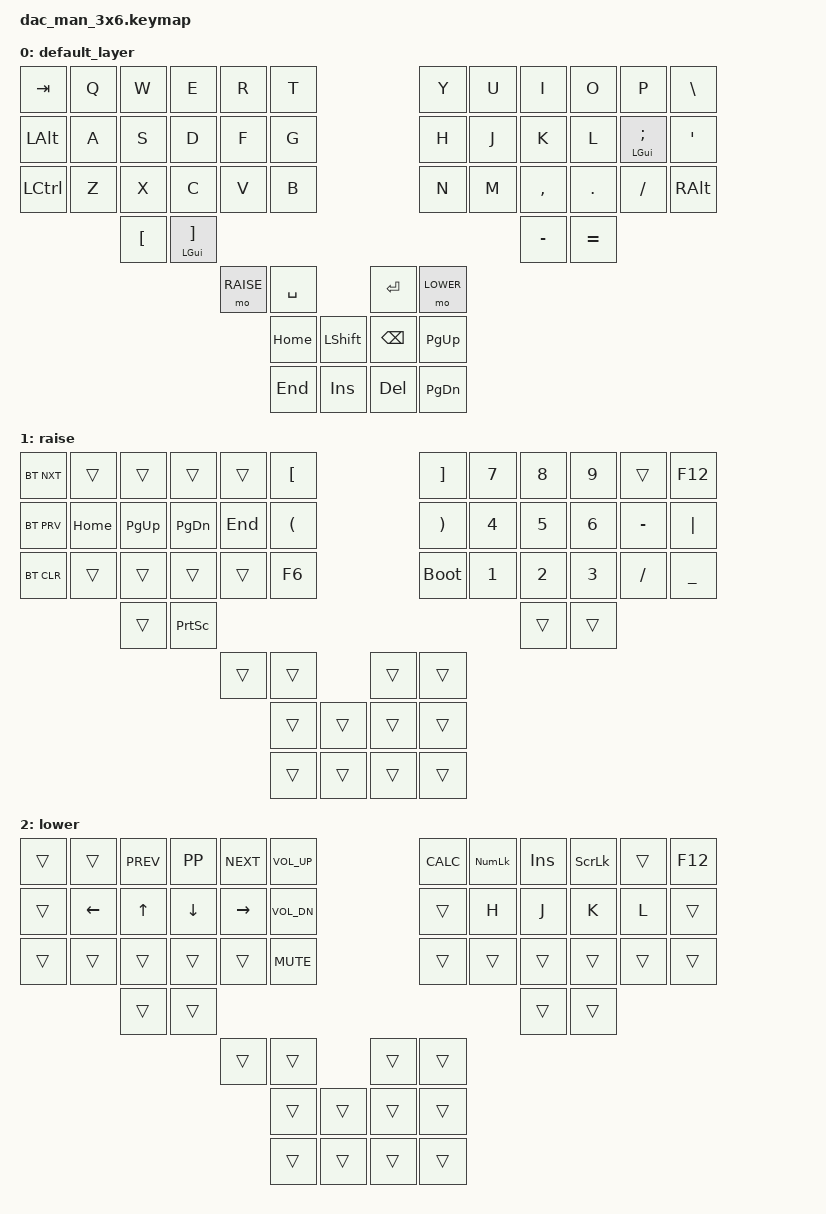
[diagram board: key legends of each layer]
#include <behaviors.dtsi>
#include <dt-bindings/zmk/keys.h>
#include <dt-bindings/zmk/bt.h>

#define DEFAULT 0
#define RAISE   1
#define LOWER   2

/ {
    keymap {
        compatible = "zmk,keymap";

        default_layer {
// Commented layout is not actual layout.
// -------------------------------------------------------------------------------------------------------------------------
// |   TAB   |    Q    |    W    |    E    |    R    |    T    |                   |    Y    |    U    |    I    |    O    |    P    |    \    |
// |  LALT   |    A    |    S    |    D    |    F    |    G    |                   |    H    |    J    |    K    |    L    |    ;    |    '    |
// |  LCTRL  |    Z    |    X    |    C    |    V    |    B    |                   |    N    |    M    |    ,    |    .    |    /    |  RALT   |
//                     |    [    |    ]    |                                                           |    -    |    =    |
//                               | MO lay 1| SPACE   |                   | ENTER   | MO lay 2|
//                                         |   TAB   |   HOME  |   END   |   DEL   |
//                                         |  Raise  |    ~    |   GUI   |  Lower  |
            bindings = <
&kp TAB    &kp Q      &kp W     &kp E      &kp R      &kp T                           &kp Y      &kp U      &kp I      &kp O      &kp P          &kp BSLH
&kp LALT   &kp A      &kp S     &kp D      &kp F      &kp G                           &kp H      &kp J      &kp K      &kp L      &mt LGUI SEMI  &kp SQT
&kp LCTRL  &kp Z      &kp X     &kp C      &kp V      &kp B                           &kp N      &kp M      &kp COMMA  &kp DOT    &kp FSLH       &kp RALT
                      &kp LBKT  &mt LGUI RBKT                                                               &kp MINUS  &kp EQUAL
                                          &mo RAISE  &kp SPACE                &kp ENTER   &mo LOWER
                                                      &kp HOME &kp LSHIFT   &kp BSPC    &kp PG_UP
                                                      &kp END  &kp INS      &kp DEL     &kp PG_DN
            >;
        };

        raise {
// commented layout is not actual layout.
// -------------------------------------------------------------------------------------------------------------------------
// |   tab   |    q    |    w    |    e    |    r    |    t    |                   |    y    |    u    |    i    |    o    |    p    |    \    |
// |  lalt   |    a    |    s    |    d    |    f    |    g    |                   |    h    |    j    |    k    |    l    |    ;    |    '    |
// |  lctrl  |    z    |    x    |    c    |    v    |    b    |                   |    n    |    m    |    ,    |    .    |    /    |  ralt   |
//                     |    [    |    ]    |                                                           |    -    |    =    |
//                               | mo lay 1| space   |                   | enter   | mo lay 2|
//                                         |   tab   |   home  |   end   |   del   |
//                                         |  raise  |    ~    |   gui   |  lower  |
            bindings = <
&bt BT_NXT   &trans     &trans    &trans     &trans     &kp LBKT                        &kp RBKT      &kp 7      &kp 8      &kp 9      &trans         &kp F12
&bt BT_PRV   &kp HOME   &kp PG_UP &kp PG_DN  &kp END    &kp LPAR                        &kp RPAR      &kp 4      &kp 5      &kp 6      &kp MINUS      &kp PIPE
&bt BT_CLR   &trans     &trans    &trans     &trans     &kp F6                          &bootloader   &kp 1      &kp 2      &kp 3      &kp FSLH       &kp UNDER
                        &trans    &kp PSCRN                                                                      &trans     &trans
                                             &trans     &trans                          &trans        &trans
                                                        &trans &trans            &trans &trans
                                                        &trans &trans            &trans &trans
            >;
        };

        lower {
// commented layout is not actual layout.
// -------------------------------------------------------------------------------------------------------------------------
// |   tab   |    q    |    w    |    e    |    r    |    t    |                   |    y    |    u    |    i    |    o    |    p    |    \    |
// |  lalt   |    a    |    s    |    d    |    f    |    g    |                   |    h    |    j    |    k    |    l    |    ;    |    '    |
// |  lctrl  |    z    |    x    |    c    |    v    |    b    |                   |    n    |    m    |    ,    |    .    |    /    |  ralt   |
//                     |    [    |    ]    |                                                           |    -    |    =    |
//                               | mo lay 1| space   |                   | enter   | mo lay 2|
//                                         |   tab   |   home  |   end   |   del   |
//                                         |  raise  |    ~    |   gui   |  lower  |
            bindings = <
&trans     &trans     &kp K_PREV &kp K_PP   &kp K_NEXT &kp C_VOL_UP                    &kp K_CALC &kp KP_NUM &kp INS    &kp SLCK   &trans      &kp F12
&trans     &kp LEFT   &kp UP     &kp DOWN   &kp RIGHT  &kp C_VOL_DN                    &trans     &kp H      &kp J      &kp K      &kp L       &trans
&trans     &trans     &trans     &trans     &trans     &kp C_MUTE                      &trans     &trans     &trans     &trans     &trans      &trans
                      &trans  &trans                                                              &trans     &trans
                                             &trans  &trans                 &trans   &trans
                                                      &trans &trans   &trans    &trans
                                                      &trans &trans   &trans    &trans
            >;
        };
   };
};
